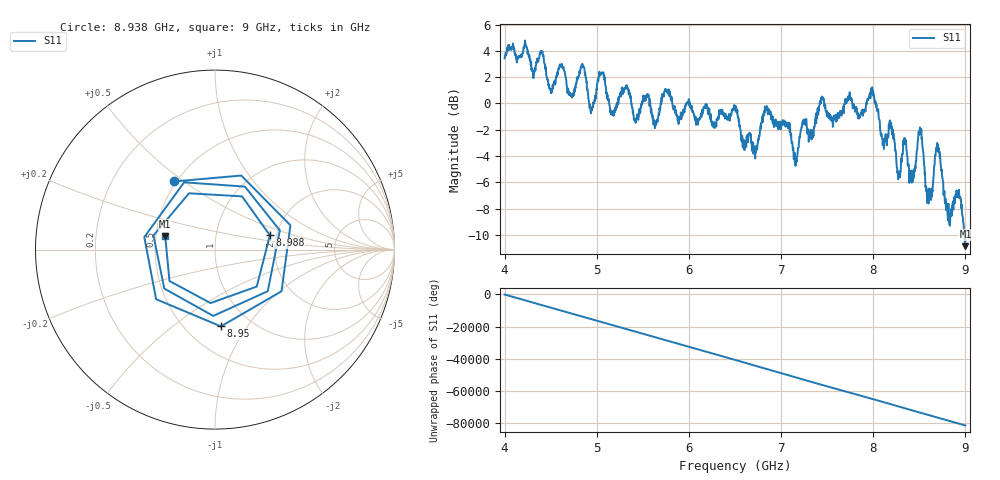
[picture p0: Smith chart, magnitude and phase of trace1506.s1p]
! Created with skrf 1.8.0 (http://scikit-rf.org).
# Hz S RI R 50.0
!freq ReS11 ImS11
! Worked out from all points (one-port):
!   1601 points, 4 GHz to 9 GHz, reference 50 ohm
!   lowest |S11| = -10.8 dB at 9 GHz (marker M1), VSWR 1.80, Z = 28 + j4.49 ohm
!   |S11| at or under -10 dB: 8.987955 GHz to end of sweep
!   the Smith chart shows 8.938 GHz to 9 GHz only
!   S11 on the Smith chart (normalised r, x): 8.938 GHz: 0.49, +0.46; 8.95 GHz: 0.73, -0.77; 8.988 GHz: 1.84, +0.33; 9 GHz: 0.56, +0.09
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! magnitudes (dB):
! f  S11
! 4 GHz  3.4
! 4.4 GHz  3.8
! 4.5 GHz  1.0
! 4.625 GHz  2.8
! 4.728 GHz  0.5
! 4.85 GHz  2.9
! 4.941 GHz  -0.5
! 5.047 GHz  2.3
! 5.162 GHz  -0.6
! 5.25 GHz  0.6
! 5.875 GHz  -1.0
! 6.5 GHz  -0.3
! 6.597 GHz  -3.0
! 6.85 GHz  -0.3
! 7.125 GHz  -3.3
! 7.75 GHz  0.4
! 7.988 GHz  1.2
! 8.275 GHz  -5.2
! 8.375 GHz  -4.7
! 8.431 GHz  -6.0
! 8.506 GHz  -1.8
! 8.603 GHz  -6.5
! 8.7 GHz  -3.6
! 8.812 GHz  -8.9
! 8.938 GHz  -7.1
! 8.95 GHz  -7.4
! 8.988 GHz  -10.0
! 9 GHz  -10.8
